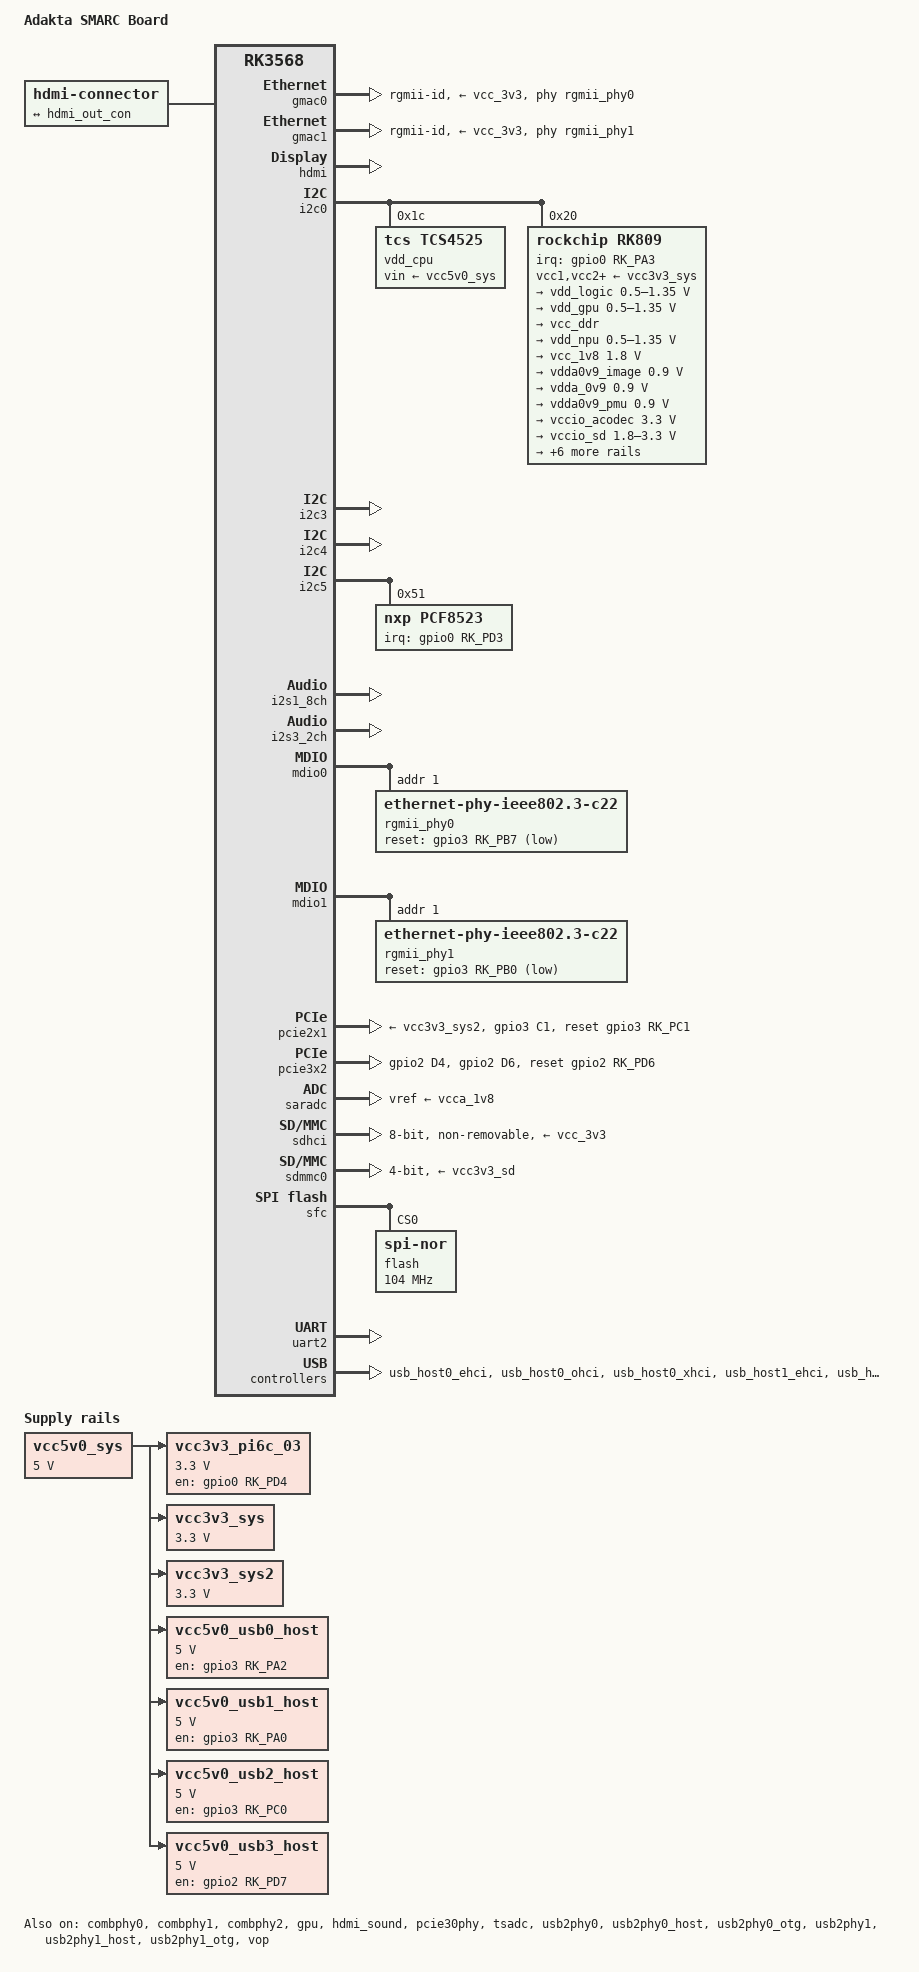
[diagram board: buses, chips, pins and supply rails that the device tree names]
// SPDX-License-Identifier: (GPL-2.0+ OR MIT)

/dts-v1/;

#include <dt-bindings/gpio/gpio.h>
#include <dt-bindings/leds/common.h>
#include <dt-bindings/pinctrl/rockchip.h>
#include <dt-bindings/soc/rockchip,vop2.h>
#include "rk3568.dtsi"

/ {
	model = "Adakta SMARC Board";
	compatible = "adakta,adakta-smarc-rk3568", "rockchip,rk3568";

	aliases {
		ethernet0 = &gmac0;
		ethernet1 = &gmac1;
		mmc0 = &sdhci;
		mmc1 = &sdmmc0;
	};

	chosen {
		stdout-path = "serial2:1500000n8";
	};

	hdmi-con {
		compatible = "hdmi-connector";
		type = "a";

		port {
			hdmi_con_in: endpoint {
				remote-endpoint = <&hdmi_out_con>;
			};
		};
	};

	/* pi6c pcie clock generator */
	vcc3v3_pi6c_03: regulator-3v3-vcc-pi6c-03 {
		compatible = "regulator-fixed";
		enable-active-high;
		gpios = <&gpio0 RK_PD4 GPIO_ACTIVE_HIGH>;
		pinctrl-names = "default";
		pinctrl-0 = <&pcie_pwren_h>;
		regulator-name = "vcc3v3_pi6c_03";
		regulator-always-on;
		regulator-boot-on;
		regulator-min-microvolt = <3300000>;
		regulator-max-microvolt = <3300000>;
		startup-delay-us = <10000>;
		vin-supply = <&vcc5v0_sys>;
	};

	vcc3v3_sys: regulator-3v3-vcc-sys {
		compatible = "regulator-fixed";
		regulator-name = "vcc3v3_sys";
		regulator-always-on;
		regulator-boot-on;
		regulator-min-microvolt = <3300000>;
		regulator-max-microvolt = <3300000>;
		vin-supply = <&vcc5v0_sys>;
	};

	vcc3v3_sys2: regulator-3v3-vcc-sys2 {
		compatible = "regulator-fixed";
		regulator-name = "vcc3v3_sys2";
		regulator-always-on;
		regulator-boot-on;
		regulator-min-microvolt = <3300000>;
		regulator-max-microvolt = <3300000>;
		vin-supply = <&vcc5v0_sys>;
	};

	vcc5v0_sys: regulator-5v0-vcc-sys {
		compatible = "regulator-fixed";
		regulator-name = "vcc5v0_sys";
		regulator-always-on;
		regulator-boot-on;
		regulator-min-microvolt = <5000000>;
		regulator-max-microvolt = <5000000>;
	};

	vcc5v0_usb0_host: regulator-5v0-vcc-usb0-host {
		compatible = "regulator-fixed";
		enable-active-high;
		gpios = <&gpio3 RK_PA2 GPIO_ACTIVE_HIGH>;
		pinctrl-names = "default";
		pinctrl-0 = <&usb0_pwren_h>;
		regulator-name = "vcc5v0_usb0_host";
		regulator-min-microvolt = <5000000>;
		regulator-max-microvolt = <5000000>;
		vin-supply = <&vcc5v0_sys>;
	};

	vcc5v0_usb1_host: regulator-5v0-vcc-usb1-host {
		compatible = "regulator-fixed";
		enable-active-high;
		gpios = <&gpio3 RK_PA0 GPIO_ACTIVE_HIGH>;
		pinctrl-names = "default";
		pinctrl-0 = <&usb1_pwren_h>;
		regulator-name = "vcc5v0_usb1_host";
		regulator-min-microvolt = <5000000>;
		regulator-max-microvolt = <5000000>;
		vin-supply = <&vcc5v0_sys>;
	};

	vcc5v0_usb2_host: regulator-5v0-vcc-usb2-host {
		compatible = "regulator-fixed";
		enable-active-high;
		gpios = <&gpio3 RK_PC0 GPIO_ACTIVE_HIGH>;
		pinctrl-names = "default";
		pinctrl-0 = <&usb2_pwren_h>;
		regulator-name = "vcc5v0_usb2_host";
		regulator-min-microvolt = <5000000>;
		regulator-max-microvolt = <5000000>;
		vin-supply = <&vcc5v0_sys>;
	};

	vcc5v0_usb3_host: regulator-5v0-vcc-usb3-host {
		compatible = "regulator-fixed";
		enable-active-high;
		gpios = <&gpio2 RK_PD7 GPIO_ACTIVE_HIGH>;
		pinctrl-names = "default";
		pinctrl-0 = <&usb3_pwren_h>;
		regulator-name = "vcc5v0_usb3_host";
		regulator-min-microvolt = <5000000>;
		regulator-max-microvolt = <5000000>;
		vin-supply = <&vcc5v0_sys>;
	};

	sound {
		compatible = "simple-audio-card";
		simple-audio-card,format = "i2s";
		simple-audio-card,name = "Analog RK809";
		simple-audio-card,mclk-fs = <256>;

		simple-audio-card,cpu {
			sound-dai = <&i2s1_8ch>;
		};

		simple-audio-card,codec {
			sound-dai = <&rk809>;
		};
	};
};

&combphy0 {
	status = "okay";
};

&combphy1 {
	status = "okay";
};

&combphy2 {
	status = "okay";
};

&cpu0 {
	cpu-supply = <&vdd_cpu>;
};

&cpu1 {
	cpu-supply = <&vdd_cpu>;
};

&cpu2 {
	cpu-supply = <&vdd_cpu>;
};

&cpu3 {
	cpu-supply = <&vdd_cpu>;
};

&gmac0 {
	assigned-clocks = <&cru SCLK_GMAC0_RX_TX>, <&cru SCLK_GMAC0>;
	assigned-clock-parents = <&cru SCLK_GMAC0_RGMII_SPEED>, <&cru CLK_MAC0_2TOP>;
	clock_in_out = "input";
	phy-handle = <&rgmii_phy0>;
	phy-mode = "rgmii-id";
	phy-supply = <&vcc_3v3>;
	pinctrl-names = "default";
	pinctrl-0 = <&gmac0_miim
		     &gmac0_tx_bus2
		     &gmac0_rx_bus2
		     &gmac0_rgmii_clk
		     &gmac0_rgmii_bus
		     &gmac0_clkinout>;
	status = "okay";
};

&gmac1 {
	assigned-clocks = <&cru SCLK_GMAC1_RX_TX>, <&cru SCLK_GMAC1>;
	assigned-clock-parents = <&cru SCLK_GMAC1_RGMII_SPEED>, <&cru CLK_MAC1_2TOP>;
	clock_in_out = "input";
	phy-handle = <&rgmii_phy1>;
	phy-mode = "rgmii-id";
	phy-supply = <&vcc_3v3>;
	pinctrl-names = "default";
	pinctrl-0 = <&gmac1m1_miim
		     &gmac1m1_tx_bus2
		     &gmac1m1_rx_bus2
		     &gmac1m1_rgmii_clk
		     &gmac1m1_rgmii_bus
		     &gmac1m1_clkinout>;
	status = "okay";
};

&gpu {
	mali-supply = <&vdd_gpu>;
	status = "okay";
};

&hdmi {
	avdd-0v9-supply = <&vdda0v9_image>;
	avdd-1v8-supply = <&vcca1v8_image>;
	status = "okay";
};

&hdmi_out {
	hdmi_out_con: endpoint {
		remote-endpoint = <&hdmi_con_in>;
	};
};

&hdmi_sound {
	status = "okay";
};

&i2c0 {
	status = "okay";

	vdd_cpu: regulator@1c {
		compatible = "tcs,tcs4525";
		reg = <0x1c>;
		fcs,suspend-voltage-selector = <1>;
		regulator-name = "vdd_cpu";
		regulator-always-on;
		regulator-boot-on;
		regulator-min-microvolt = <800000>;
		regulator-max-microvolt = <1150000>;
		regulator-ramp-delay = <2300>;
		vin-supply = <&vcc5v0_sys>;

		regulator-state-mem {
			regulator-off-in-suspend;
		};
	};

	rk809: pmic@20 {
		compatible = "rockchip,rk809";
		reg = <0x20>;
		assigned-clocks = <&cru I2S1_MCLKOUT_TX>;
		assigned-clock-parents = <&cru CLK_I2S1_8CH_TX>;
		#clock-cells = <1>;
		clocks = <&cru I2S1_MCLKOUT_TX>;
		clock-names = "mclk";
		clock-output-names = "rk809-clkout1", "rk809-clkout2";
		interrupt-parent = <&gpio0>;
		interrupts = <RK_PA3 IRQ_TYPE_LEVEL_LOW>;
		pinctrl-names = "default";
		pinctrl-0 = <&pmic_int_l>, <&i2s1m0_mclk>;
		#sound-dai-cells = <0>;
		system-power-controller;
		wakeup-source;

		vcc1-supply = <&vcc3v3_sys>;
		vcc2-supply = <&vcc3v3_sys>;
		vcc3-supply = <&vcc3v3_sys>;
		vcc4-supply = <&vcc3v3_sys>;
		vcc5-supply = <&vcc3v3_sys>;
		vcc6-supply = <&vcc3v3_sys>;
		vcc7-supply = <&vcc3v3_sys>;
		vcc8-supply = <&vcc3v3_sys>;
		vcc9-supply = <&vcc3v3_sys>;

		regulators {
			vdd_logic: DCDC_REG1 {
				regulator-name = "vdd_logic";
				regulator-always-on;
				regulator-boot-on;
				regulator-initial-mode = <0x2>;
				regulator-min-microvolt = <500000>;
				regulator-max-microvolt = <1350000>;
				regulator-ramp-delay = <6001>;

				regulator-state-mem {
					regulator-off-in-suspend;
				};
			};

			vdd_gpu: DCDC_REG2 {
				regulator-name = "vdd_gpu";
				regulator-always-on;
				regulator-boot-on;
				regulator-initial-mode = <0x2>;
				regulator-min-microvolt = <500000>;
				regulator-max-microvolt = <1350000>;
				regulator-ramp-delay = <6001>;

				regulator-state-mem {
					regulator-off-in-suspend;
				};
			};

			vcc_ddr: DCDC_REG3 {
				regulator-name = "vcc_ddr";
				regulator-always-on;
				regulator-boot-on;
				regulator-initial-mode = <0x2>;

				regulator-state-mem {
					regulator-on-in-suspend;
				};
			};

			vdd_npu: DCDC_REG4 {
				regulator-name = "vdd_npu";
				regulator-initial-mode = <0x2>;
				regulator-min-microvolt = <500000>;
				regulator-max-microvolt = <1350000>;
				regulator-ramp-delay = <6001>;

				regulator-state-mem {
					regulator-off-in-suspend;
				};
			};

			vcc_1v8: DCDC_REG5 {
				regulator-name = "vcc_1v8";
				regulator-always-on;
				regulator-boot-on;
				regulator-min-microvolt = <1800000>;
				regulator-max-microvolt = <1800000>;

				regulator-state-mem {
					regulator-off-in-suspend;
				};
			};

			vdda0v9_image: LDO_REG1 {
				regulator-name = "vdda0v9_image";
				regulator-min-microvolt = <900000>;
				regulator-max-microvolt = <900000>;

				regulator-state-mem {
					regulator-off-in-suspend;
				};
			};

			vdda_0v9: LDO_REG2 {
				regulator-name = "vdda_0v9";
				regulator-always-on;
				regulator-boot-on;
				regulator-min-microvolt = <900000>;
				regulator-max-microvolt = <900000>;

				regulator-state-mem {
					regulator-off-in-suspend;
				};
			};

			vdda0v9_pmu: LDO_REG3 {
				regulator-name = "vdda0v9_pmu";
				regulator-always-on;
				regulator-boot-on;
				regulator-min-microvolt = <900000>;
				regulator-max-microvolt = <900000>;

				regulator-state-mem {
					regulator-on-in-suspend;
					regulator-suspend-microvolt = <900000>;
				};
			};

			vccio_acodec: LDO_REG4 {
				regulator-name = "vccio_acodec";
				regulator-always-on;
				regulator-boot-on;
				regulator-min-microvolt = <3300000>;
				regulator-max-microvolt = <3300000>;

				regulator-state-mem {
					regulator-off-in-suspend;
				};
			};

			vccio_sd: LDO_REG5 {
				regulator-name = "vccio_sd";
				regulator-always-on;
				regulator-boot-on;
				regulator-min-microvolt = <1800000>;
				regulator-max-microvolt = <3300000>;

				regulator-state-mem {
					regulator-off-in-suspend;
				};
			};

			vcc3v3_pmu: LDO_REG6 {
				regulator-name = "vcc3v3_pmu";
				regulator-always-on;
				regulator-boot-on;
				regulator-min-microvolt = <3300000>;
				regulator-max-microvolt = <3300000>;

				regulator-state-mem {
					regulator-on-in-suspend;
					regulator-suspend-microvolt = <3300000>;
				};
			};

			vcca_1v8: LDO_REG7 {
				regulator-name = "vcca_1v8";
				regulator-always-on;
				regulator-boot-on;
				regulator-min-microvolt = <1800000>;
				regulator-max-microvolt = <1800000>;

				regulator-state-mem {
					regulator-off-in-suspend;
				};
			};

			vcca1v8_pmu: LDO_REG8 {
				regulator-name = "vcca1v8_pmu";
				regulator-always-on;
				regulator-boot-on;
				regulator-min-microvolt = <1800000>;
				regulator-max-microvolt = <1800000>;

				regulator-state-mem {
					regulator-on-in-suspend;
					regulator-suspend-microvolt = <1800000>;
				};
			};

			vcca1v8_image: LDO_REG9 {
				regulator-name = "vcca1v8_image";
				regulator-min-microvolt = <1800000>;
				regulator-max-microvolt = <1800000>;

				regulator-state-mem {
					regulator-off-in-suspend;
				};
			};

			vcc_3v3: SWITCH_REG1 {
				regulator-name = "vcc_3v3";
				regulator-always-on;
				regulator-boot-on;

				regulator-state-mem {
					regulator-off-in-suspend;
				};
			};

			vcc3v3_sd: SWITCH_REG2 {
				regulator-name = "vcc3v3_sd";
				regulator-always-on;
				regulator-boot-on;

				regulator-state-mem {
					regulator-off-in-suspend;
				};
			};
		};
	};
};

&i2c3 {
	status = "okay";
};

&i2c4 {
	status = "okay";
};

&i2c5 {
	status = "okay";

	pcf8523: pcf8523@51 {
		compatible = "nxp,pcf8523";
		reg = <0x51>;
		interrupt-parent = <&gpio0>;
		interrupts = <RK_PD3 IRQ_TYPE_LEVEL_LOW>;
		pinctrl-names = "default";
		pinctrl-0 = <&rtcic_int_l>;
		wakeup-source;
	};
};

&i2s1_8ch {
	pinctrl-names = "default";
	// NOTE: pinctrl "i2s1m0_mclk" inited in node "rk809"
	pinctrl-0 = <&i2s1m0_sclktx
		     &i2s1m0_lrcktx
		     &i2s1m0_sdi0
		     &i2s1m0_sdo0>;
	rockchip,trcm-sync-tx-only;
	status = "okay";
};

&i2s3_2ch {
	pinctrl-names = "default";
	pinctrl-0 = <&i2s3m0_sclk
		     &i2s3m0_lrck
		     &i2s3m0_sdi
		     &i2s3m0_sdo>;
	status = "okay";
};

&mdio0 {
	rgmii_phy0: ethernet-phy@1 {
		compatible = "ethernet-phy-ieee802.3-c22";
		reg = <1>;
		reset-assert-us = <20000>;
		reset-deassert-us = <50000>;
		reset-gpios = <&gpio3 RK_PB7 GPIO_ACTIVE_LOW>;
	};
};

&mdio1 {
	rgmii_phy1: ethernet-phy@1 {
		compatible = "ethernet-phy-ieee802.3-c22";
		reg = <1>;
		reset-assert-us = <20000>;
		reset-deassert-us = <50000>;
		reset-gpios = <&gpio3 RK_PB0 GPIO_ACTIVE_LOW>;
	};
};

&pcie2x1 {
	pinctrl-names = "default";
	pinctrl-0 = <&pcie20m1_pins>;
	reset-gpios = <&gpio3 RK_PC1 GPIO_ACTIVE_HIGH>;
	vpcie3v3-supply = <&vcc3v3_sys2>;
	status = "okay";
};

&pcie30phy {
	status = "okay";
};

&pcie3x2 {
	pinctrl-names = "default";
	pinctrl-0 = <&pcie30x2m1_pins>;
	reset-gpios = <&gpio2 RK_PD6 GPIO_ACTIVE_HIGH>;
	status = "okay";
};

&pinctrl {
	pcie {
		/omit-if-no-ref/
		pcie_pwren_h: pcie-pwren-h {
			rockchip,pins = <0 RK_PD4 RK_FUNC_GPIO &pcfg_pull_none>;
		};
	};

	/* PCI_C */
	pcie20 {
		/omit-if-no-ref/
		pcie20m1_pins: pcie20m1-pins {
			rockchip,pins =
				/* pcie20_clkreqnm1 - NC */
				/* pcie20_perstnm1 */
				<3 RK_PC1 RK_FUNC_GPIO &pcfg_pull_none>;
				/* pcie20_wakenm1 - NC */
		};
	};

	/* PCI_B */
	pcie30x2 {
		/omit-if-no-ref/
		pcie30x2m1_pins: pcie30x2m1-pins {
			rockchip,pins =
				/* pcie30x2_clkreqnm1 */
				<2 RK_PD4 4 &pcfg_pull_none>,
				/* pcie30x2_perstnm1 */
				<2 RK_PD6 RK_FUNC_GPIO &pcfg_pull_none>;
				/* pcie30x2_wakenm1 - NC */
		};
	};

	pmic {
		/omit-if-no-ref/
		pmic_int_l: pmic-int-l {
			rockchip,pins = <0 RK_PA3 RK_FUNC_GPIO &pcfg_pull_up>;
		};
	};

	rtc {
		/omit-if-no-ref/
		rtcic_int_l: rtcic-int-l {
			rockchip,pins = <0 RK_PD3 RK_FUNC_GPIO &pcfg_pull_up>;
		};
	};

	uart {
		/omit-if-no-ref/
		uart4_re_de_h: uart4-re-de-h {
			rockchip,pins = <3 RK_PA1 RK_FUNC_GPIO &pcfg_pull_none>;
		};
	};

	usb {
		/omit-if-no-ref/
		usb0_pwren_h: usb0-pwren-h {
			rockchip,pins = <3 RK_PA2 RK_FUNC_GPIO &pcfg_pull_none>;
		};

		/omit-if-no-ref/
		usb1_pwren_h: usb1-pwren-h {
			rockchip,pins = <3 RK_PA0 RK_FUNC_GPIO &pcfg_pull_none>;
		};

		/omit-if-no-ref/
		usb2_pwren_h: usb2-pwren-h {
			rockchip,pins = <3 RK_PC0 RK_FUNC_GPIO &pcfg_pull_none>;
		};

		/omit-if-no-ref/
		usb3_pwren_h: usb3-pwren-h {
			rockchip,pins = <2 RK_PD7 RK_FUNC_GPIO &pcfg_pull_none>;
		};

		// TODO: N/A
		usb_host_pwren_h: usb-host-pwren-h {
			rockchip,pins = <0 RK_PA6 RK_FUNC_GPIO &pcfg_pull_none>;
		};

		// TODO: N/A
		usb_otg_pwren_h: usb-otg-pwren-h {
			rockchip,pins = <0 RK_PA5 RK_FUNC_GPIO &pcfg_pull_none>;
		};
	};
};

&pmu_io_domains {
	pmuio1-supply = <&vcc3v3_pmu>;
	pmuio2-supply = <&vcc_1v8>;
	vccio1-supply = <&vcc_1v8>;
	vccio2-supply = <&vcc_1v8>;
	vccio3-supply = <&vccio_sd>;
	vccio4-supply = <&vcc_1v8>;
	vccio5-supply = <&vcc_3v3>;
	vccio6-supply = <&vcc_1v8>;
	vccio7-supply = <&vcc_1v8>;
	status = "okay";
};

&saradc {
	vref-supply = <&vcca_1v8>;
	status = "okay";
};

&sdhci {
	bus-width = <8>;
	cap-mmc-highspeed;
	max-frequency = <200000000>;
	mmc-hs200-1_8v;
	non-removable;
	pinctrl-names = "default";
	pinctrl-0 = <&emmc_bus8 &emmc_clk &emmc_cmd &emmc_datastrobe>;
	vmmc-supply = <&vcc_3v3>;
	vqmmc-supply = <&vcc_1v8>;
	status = "okay";
};

&sdmmc0 {
	bus-width = <4>;
	cap-sd-highspeed;
	disable-wp;
	pinctrl-names = "default";
	pinctrl-0 = <&sdmmc0_bus4 &sdmmc0_clk &sdmmc0_cmd &sdmmc0_det>;
	vmmc-supply = <&vcc3v3_sd>;
	vqmmc-supply = <&vccio_sd>;
	status = "okay";
};

&sfc {
	#address-cells = <1>;
	#size-cells = <0>;
	status = "okay";

	flash@0 {
		compatible = "jedec,spi-nor";
		reg = <0>;
		spi-max-frequency = <104000000>;
		spi-rx-bus-width = <4>;
		spi-tx-bus-width = <1>;
	};
};

&tsadc {
	rockchip,hw-tshut-mode = <1>;
	rockchip,hw-tshut-polarity = <0>;
	status = "okay";
};

&uart2 {
	status = "okay";
};

&uart4 {
	pinctrl-names = "default";
	pinctrl-0 = <&uart4m1_xfer &uart4_re_de_h>;
	linux,rs485-enabled-at-boot-time;
	status = "disabled";
};

&uart5 {
	pinctrl-names = "default";
	pinctrl-0 = <&uart5m1_xfer>;
	status = "disabled";
};

&uart8 {
	pinctrl-names = "default";
	pinctrl-0 = <&uart8m0_xfer &uart8m0_ctsn &uart8m0_rtsn>;
	uart-has-rtscts;
	status = "disabled";
};

&usb_host0_ehci {
	// USB1 - USB2.0 HOST0/2
	status = "okay";
};

&usb_host0_ohci {
	// USB1 - USB2.0 HOST0/2
	status = "okay";
};

&usb_host0_xhci {
	// USB2 - USB3.0 OTG0
	status = "okay";
};

&usb_host1_ehci {
	// USB0 - USB2.0 HOST1/3
	status = "okay";
};

&usb_host1_ohci {
	// USB0 - USB2.0 HOST1/3
	status = "okay";
};

&usb_host1_xhci {
	// USB3 - USB3.0 OTG1/HOST1
	status = "okay";
};

&usb2phy0 {
	status = "okay";
};

&usb2phy0_host {
	// USB3 - USB3.0 OTG1/HOST1
	phy-supply = <&vcc5v0_usb3_host>;
	status = "okay";
};

&usb2phy0_otg {
	// USB2 - USB3.0 OTG0
	phy-supply = <&vcc5v0_usb2_host>;
	status = "okay";
};

&usb2phy1 {
	status = "okay";
};

&usb2phy1_host {
	// USB0 - USB2.0 HOST1/3
	phy-supply = <&vcc5v0_usb0_host>;
	status = "okay";
};

&usb2phy1_otg {
	// USB1 - USB2.0 HOST0/2
	phy-supply = <&vcc5v0_usb1_host>;
	status = "okay";
};

&vop {
	assigned-clocks = <&cru DCLK_VOP0>, <&cru DCLK_VOP1>;
	assigned-clock-parents = <&pmucru PLL_HPLL>, <&cru PLL_VPLL>;
	status = "okay";
};

&vop_mmu {
	status = "okay";
};
